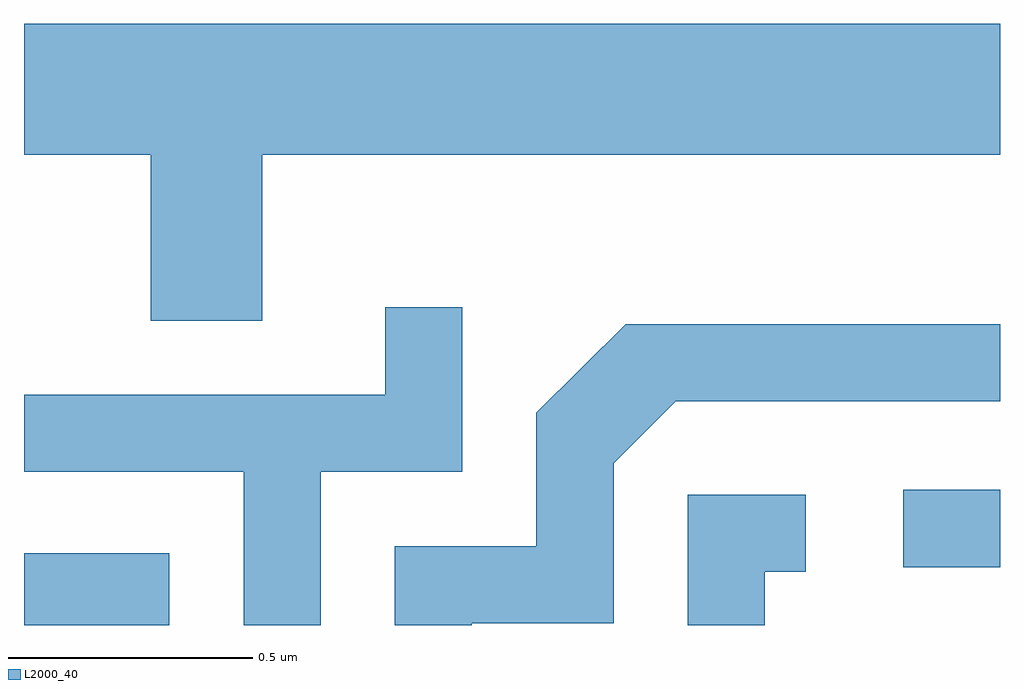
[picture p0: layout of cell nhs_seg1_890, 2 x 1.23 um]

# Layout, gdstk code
import gdstk
lib = gdstk.Library(unit=1e-6, precision=1e-09)
def R(c, l, rs):  # rectangles x0, y0, x1, y1
    for r in rs: c.add(gdstk.rectangle(r[:2], r[2:], *l))
def P(c, l, *ps):  # polygons
    for p in ps: c.add(gdstk.Polygon(p, *l))
L2000_40 = (2000, 40)

nhs_seg1_890 = lib.new_cell('nhs_seg1_890')
R(nhs_seg1_890, L2000_40, [(191.611,909.712,191.909,909.859), (193.413,909.831,193.611,909.989)])
P(nhs_seg1_890, L2000_40, [(192.099,910.676),(193.611,910.676),(193.611,910.944),(191.611,910.944),(191.611,910.676),(191.871,910.676),(191.871,910.336),(192.099,910.336)],
  [(192.219,910.026),(192.509,910.026),(192.509,910.363),(192.351,910.363),(192.351,910.184),(191.611,910.184),(191.611,910.026),(192.061,910.026),(192.061,909.712),(192.219,909.712)],
  [(192.529,909.716),(192.819,909.716),(192.819,910.044),(192.947,910.171),(193.611,910.171),(193.611,910.329),(192.844,910.329),(192.661,910.147),(192.661,909.874),(192.371,909.874),(192.371,909.712),(192.529,909.712)],
  [(193.129,909.821),(193.213,909.821),(193.213,909.979),(192.971,909.979),(192.971,909.712),(193.129,909.712)])

lib.write_gds('nhs_seg1_890.gds')
